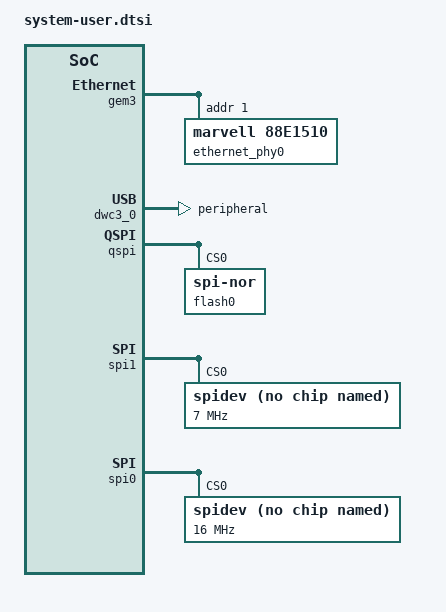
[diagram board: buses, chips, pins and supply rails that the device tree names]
/include/ "system-conf.dtsi"
/* SDIO */

&sdhci1 {
   disable-wp;
   no-1-8-v;
   max-frequency = <5000000>;
};

/* ETH PHY */
&gem3 {

	status = "okay";
  ethernet_phy0: ethernet-phy@0 {
		compatible = "marvell,88e1510";
		device_type = "ethernet-phy";
    		reg = <1>;
	};
};
/* USB 2.0 */
&dwc3_0 {
    status = "okay";
    dr_mode = "peripheral"; 
    //maximum-speed = "high-speed";
    /delete-property/phy-names;
    /delete-property/phys;
    /delete-property/snps,usb3_lpm_capable;
 	  snps,dis_u2_susphy_quirk;
  	snps,dis_u3_susphy_quirk;
};

/* QSPI PHY */
&qspi {
    #address-cells = <1>;
    #size-cells = <0>;
    status = "okay";
    flash0: flash@0 {
        compatible = "jedec,spi-nor";
        reg = <0x0>;
        #address-cells = <1>;
        #size-cells = <1>;
    };
};

// spidev for IMU
&spi1 {
	// Change to mode 3
	spi-cpha=<1>;
	spi-cpol=<1>;
	spidev@0x00 {
    // Hack to make it compatible with spidev without having warnings when running
		compatible = "rohm,dh2228fv";
		spi-max-frequency = <7000000>; // From ICM imu datasheet
		reg = <0>;
	};
};

// SPI on backpack board
&spi0 {
	// Change to mode 3
	spi-cpha=<1>;
	spi-cpol=<1>;
	spidev@0x00 {
    // Hack to make it compatible with spidev without having warnings when running
		compatible = "rohm,dh2228fv";
		spi-max-frequency = <16000000>; // From vectornav datasheet
		reg = <0>;
	};
};

// UIO for VDMA, will allow interrupt on frame transferred and configuration through AXI4 lite

&axi_vdma_0 {
    compatible = "generic-uio";
};
&axi_vdma_1 {
    compatible = "generic-uio";
};
&axi_vdma_2 {
    compatible = "generic-uio";
};
// UIO for custom IMU synchroniser IP
&axi_gpio_0 {
    compatible = "generic-uio";
};
// Configuration GPIO for fast corner detection
&axi_gpio_1 {
    compatible = "generic-uio";
};
